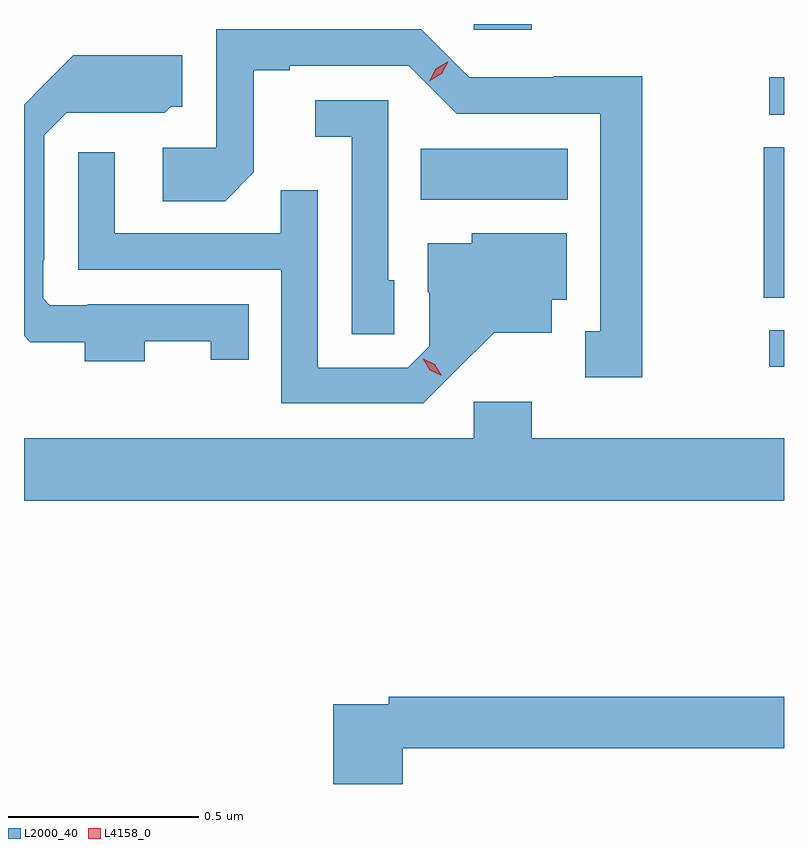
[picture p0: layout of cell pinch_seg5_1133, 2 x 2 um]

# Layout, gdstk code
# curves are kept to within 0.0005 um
import gdstk
lib = gdstk.Library(unit=1e-6, precision=1e-09)
def R(c, l, rs):  # rectangles x0, y0, x1, y1
    for r in rs: c.add(gdstk.rectangle(r[:2], r[2:], *l))
def P(c, l, *ps):  # polygons
    for p in ps: c.add(gdstk.Polygon(p, *l))
L2000_40 = (2000, 40)
L4158_0 = (4158, 0)

pinch_seg5_1133 = lib.new_cell('pinch_seg5_1133')
R(pinch_seg5_1133, L2000_40, [(796.959,871.764,796.998,871.86), (796.945,871.945,796.998,872.342), (796.042,872.204,796.429,872.338), (796.959,872.427,796.998,872.526), (796.182,872.651,796.334,872.666)])
P(pinch_seg5_1133, L2000_40, [(796.625,872.528),(796.392,872.528),(796.392,872.526),(796.17,872.526),(796.044,872.652),(795.504,872.652),(795.504,872.34),(795.363,872.34),(795.363,872.2),(795.527,872.2),(795.603,872.276),(795.603,872.544),(795.697,872.544),(795.697,872.556),(796.011,872.556),(796.137,872.43),(796.514,872.43),(796.514,871.857),(796.475,871.857),(796.475,871.737),(796.625,871.737)],
  [(795.316,871.831),(795.489,871.831),(795.489,871.782),(795.59,871.782),(795.59,871.929),(795.166,871.929),(795.166,871.926),(795.066,871.926),(795.048,871.944),(795.048,872.044),(795.051,872.044),(795.051,872.373),(795.111,872.433),(795.234,872.433),(795.234,872.432),(795.368,872.432),(795.384,872.448),(795.415,872.448),(795.415,872.584),(795.127,872.584),(794.998,872.453),(794.998,871.845),(795.014,871.829),(795.158,871.829),(795.158,871.778),(795.316,871.778)],
  [(795.972,871.992),(795.957,871.992),(795.957,872.466),(795.765,872.466),(795.765,872.369),(795.861,872.369),(795.861,871.849),(795.972,871.849)],
  [(796.132,871.751),(796.235,871.853),(796.387,871.853),(796.387,871.94),(796.426,871.94),(796.426,872.116),(796.176,872.116),(796.176,872.089),(796.061,872.089),(796.061,871.96),(796.065,871.96),(796.065,871.818),(796.008,871.761),(795.771,871.761),(795.771,872.228),(795.673,872.228),(795.673,872.115),(795.237,872.115),(795.237,872.329),(795.141,872.329),(795.141,872.019),(795.675,872.019),(795.675,871.668),(796.048,871.668)],
  [(796.998,871.576),(796.334,871.576),(796.334,871.672),(796.182,871.672),(796.182,871.576),(794.998,871.576),(794.998,871.412),(796.998,871.412)],
  [(795.995,870.76),(796.998,870.76),(796.998,870.896),(795.958,870.896),(795.958,870.876),(795.812,870.876),(795.812,870.666),(795.995,870.666)])
P(pinch_seg5_1133, L4158_0, [(796.065,872.515),(796.065,872.516),(796.082,872.548),(796.114,872.568),(796.114,872.568),(796.114,872.567),(796.097,872.535),(796.065,872.515)],
  [(796.097,871.74),(796.066,871.755),(796.048,871.784),(796.048,871.785),(796.049,871.785),(796.079,871.77),(796.097,871.741),(796.097,871.74)])

lib.write_gds('pinch_seg5_1133.gds')
